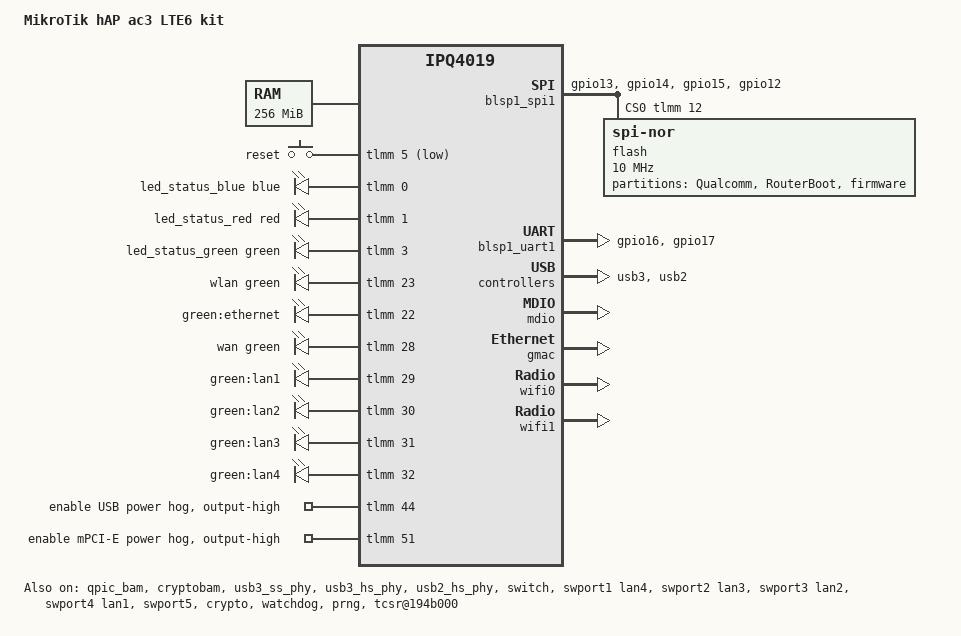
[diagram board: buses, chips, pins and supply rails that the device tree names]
// SPDX-License-Identifier: GPL-2.0-or-later OR MIT
/* Copyright (c) 2021, Robert Marko <robimarko@gmail.com> */

#include "qcom-ipq4019.dtsi"
#include <dt-bindings/gpio/gpio.h>
#include <dt-bindings/input/input.h>
#include <dt-bindings/leds/common.h>
#include <dt-bindings/soc/qcom,tcsr.h>

/ {
	model = "MikroTik hAP ac3 LTE6 kit";
	compatible = "mikrotik,hap-ac3-lte6-kit";

	memory {
		device_type = "memory";
		reg = <0x80000000 0x10000000>;
	};

	chosen {
		stdout-path = "serial0:115200n8";
	};

	aliases {
		led-boot = &led_status_blue;
		led-failsafe = &led_status_red;
		led-running = &led_status_blue;
		led-upgrade = &led_status_red;
	};

	soc {
		counter@4a1000 {
			compatible = "qcom,qca-gcnt";
			reg = <0x4a1000 0x4>;
		};

		tcsr@1949000 {
			compatible = "qcom,tcsr";
			reg = <0x1949000 0x100>;
			qcom,wifi_glb_cfg = <TCSR_WIFI_GLB_CFG>;
		};

		tcsr@194b000 {
			/* select hostmode */
			compatible = "qcom,tcsr";
			reg = <0x194b000 0x100>;
			qcom,usb-hsphy-mode-select = <TCSR_USB_HSPHY_HOST_MODE>;
			status = "okay";
		};

		ess_tcsr@1953000 {
			compatible = "qcom,tcsr";
			reg = <0x1953000 0x1000>;
			qcom,ess-interface-select = <TCSR_ESS_PSGMII>;
		};

		tcsr@1957000 {
			compatible = "qcom,tcsr";
			reg = <0x1957000 0x100>;
			qcom,wifi_noc_memtype_m0_m2 = <TCSR_WIFI_NOC_MEMTYPE_M0_M2>;
		};
	};

	keys {
		compatible = "gpio-keys";

		reset {
			label = "reset";
			gpios = <&tlmm 5 GPIO_ACTIVE_LOW>;
			linux,code = <KEY_RESTART>;
		};
	};

	leds {
		compatible = "gpio-leds";

		led_status_blue: status-blue {
			function = LED_FUNCTION_STATUS;
			color = <LED_COLOR_ID_BLUE>;
			gpios = <&tlmm 0 GPIO_ACTIVE_HIGH>;
		};

		led_status_red: status-red {
			function = LED_FUNCTION_STATUS;
			color = <LED_COLOR_ID_RED>;
			gpios = <&tlmm 1 GPIO_ACTIVE_HIGH>;
			panic-indicator;
		};

		led_status_green: status-green {
			function = LED_FUNCTION_STATUS;
			color = <LED_COLOR_ID_GREEN>;
			gpios = <&tlmm 3 GPIO_ACTIVE_HIGH>;
		};

		wlan {
			function = LED_FUNCTION_WLAN;
			color = <LED_COLOR_ID_GREEN>;
			gpios = <&tlmm 23 GPIO_ACTIVE_HIGH>;
		};

		ethernet {
			label = "green:ethernet";
			gpios = <&tlmm 22 GPIO_ACTIVE_HIGH>;
		};

		wan {
			function = LED_FUNCTION_WAN;
			color = <LED_COLOR_ID_GREEN>;
			gpios = <&tlmm 28 GPIO_ACTIVE_HIGH>;
		};

		lan1 {
			label = "green:lan1";
			gpios = <&tlmm 29 GPIO_ACTIVE_HIGH>;
		};

		lan2 {
			label = "green:lan2";
			gpios = <&tlmm 30 GPIO_ACTIVE_HIGH>;
		};

		lan3 {
			label = "green:lan3";
			gpios = <&tlmm 31 GPIO_ACTIVE_HIGH>;
		};

		lan4 {
			label = "green:lan4";
			gpios = <&tlmm 32 GPIO_ACTIVE_HIGH>;
		};
	};
};

&tlmm {
	serial_pins: serial_pinmux {
		mux {
			pins = "gpio16", "gpio17";
			function = "blsp_uart0";
			bias-disable;
		};
	};

	spi_0_pins: spi_0_pinmux {
		pin {
			function = "blsp_spi0";
			pins = "gpio13", "gpio14", "gpio15";
			drive-strength = <12>;
			bias-disable;
		};

		pin_cs {
			function = "gpio";
			pins = "gpio12";
			drive-strength = <2>;
			bias-disable;
			output-high;
		};
	};

	enable-usb-power {
		gpio-hog;
		gpios = <44 GPIO_ACTIVE_HIGH>;
		output-high;
		line-name = "enable USB power";
	};

	enable-mpcie-power {
		gpio-hog;
		gpios = <51 GPIO_ACTIVE_HIGH>;
		output-high;
		line-name = "enable mPCI-E power";
	};

};

&blsp_dma {
	status = "okay";
};

&blsp1_spi1 {
	status = "okay";

	pinctrl-0 = <&spi_0_pins>;
	pinctrl-names = "default";
	cs-gpios = <&tlmm 12 GPIO_ACTIVE_HIGH>;

	flash@0 {
		reg = <0>;
		compatible = "jedec,spi-nor";
		spi-max-frequency = <10000000>;
		#address-cells = <1>;
		#size-cells = <1>;


		partitions {
			compatible = "fixed-partitions";

			partition@0 {
				label = "Qualcomm";
				reg = <0x0 0x80000>;
				read-only;
			};

			partition@80000 {
				compatible = "mikrotik,routerboot-partitions";
				label = "RouterBoot";
				reg = <0x80000 0x80000>;

				hard_config {
					size = <0x2000>;
				};

				dtb_config {
					read-only;
				};

				soft_config {
				};
			};

			partition@110000 {
				compatible = "mikrotik,minor";
				label = "firmware";
				reg = <0x110000 0xef0000>;
			};
		};
	};
};

&qpic_bam {
	status = "okay";
};

&blsp1_uart1 {
	status = "okay";
	pinctrl-0 = <&serial_pins>;
	pinctrl-names = "default";
};

&cryptobam {
	status = "okay";
};

&usb3_ss_phy {
	status = "okay";
};

&usb3_hs_phy {
	status = "okay";
};

&usb3 {
	status = "okay";
};

&usb2_hs_phy {
	status = "okay";
};

&usb2 {
	status = "okay";
};

&mdio {
	status = "okay";
};

&gmac {
	status = "okay";
};

&switch {
	status = "okay";
};

&swport1 {
	status = "okay";
	label = "lan4";
};

&swport2 {
	status = "okay";
	label = "lan3";
};

&swport3 {
	status = "okay";
	label = "lan2";
};

&swport4 {
	status = "okay";
	label = "lan1";
};

&swport5 {
	status = "okay";
};

&wifi0 {
	status = "okay";
};

&wifi1 {
	status = "okay";
};

&crypto {
	status = "okay";
};

&watchdog {
	status = "okay";
};

&prng {
	status = "okay";
};
